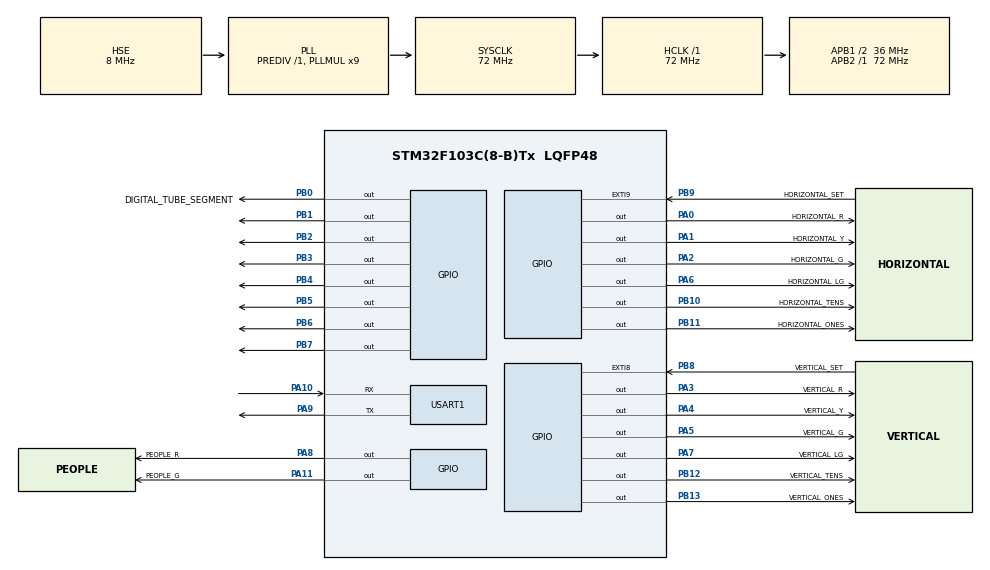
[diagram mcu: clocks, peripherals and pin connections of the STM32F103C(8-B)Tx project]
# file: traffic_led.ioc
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Dma.Request0=USART1_RX
Dma.USART1_RX.0.Direction=DMA_PERIPH_TO_MEMORY
Dma.USART1_RX.0.Instance=DMA1_Channel5
Dma.USART1_RX.0.MemDataAlignment=DMA_MDATAALIGN_BYTE
Dma.USART1_RX.0.MemInc=DMA_MINC_ENABLE
Dma.USART1_RX.0.Mode=DMA_NORMAL
Dma.USART1_RX.0.PeriphDataAlignment=DMA_PDATAALIGN_BYTE
Dma.USART1_RX.0.PeriphInc=DMA_PINC_DISABLE
Dma.USART1_RX.0.Priority=DMA_PRIORITY_LOW
Mcu.Family=STM32F1
Mcu.Name=STM32F103C(8-B)Tx
Mcu.Package=LQFP48
NVIC.DMA1_Channel5_IRQn=true\:0\:0\:false\:false\:true\:false\:true\:true
NVIC.EXTI9_5_IRQn=true\:0\:0\:false\:false\:true\:true\:true\:true
NVIC.PriorityGroup=NVIC_PRIORITYGROUP_4
NVIC.TIM2_IRQn=true\:0\:0\:false\:false\:true\:true\:true\:true
NVIC.TIM3_IRQn=true\:0\:0\:false\:false\:true\:true\:true\:true
NVIC.USART1_IRQn=true\:0\:0\:false\:false\:true\:true\:true\:true
PA0-WKUP.GPIO_Label=HORIZONTAL_R
PA0-WKUP.Signal=GPIO_Output
PA1.GPIO_Label=HORIZONTAL_Y
PA1.Signal=GPIO_Output
PA10.Mode=Asynchronous
PA10.Signal=USART1_RX
PA11.GPIO_Label=PEOPLE_G
PA11.Signal=GPIO_Output
PA13.Mode=Serial_Wire
PA13.Signal=SYS_JTMS-SWDIO
PA14.Mode=Serial_Wire
PA14.Signal=SYS_JTCK-SWCLK
PA2.GPIO_Label=HORIZONTAL_G
PA2.Signal=GPIO_Output
PA3.GPIO_Label=VERTICAL_R
PA3.Signal=GPIO_Output
PA4.GPIO_Label=VERTICAL_Y
PA4.Signal=GPIO_Output
PA5.GPIO_Label=VERTICAL_G
PA5.Signal=GPIO_Output
PA6.GPIO_Label=HORIZONTAL_LG
PA6.Signal=GPIO_Output
PA7.GPIO_Label=VERTICAL_LG
PA7.Signal=GPIO_Output
PA8.GPIO_Label=PEOPLE_R
PA8.Signal=GPIO_Output
PA9.Mode=Asynchronous
PA9.Signal=USART1_TX
PB0.GPIO_Label=DIGITAL_TUBE_SEGMENT
PB0.Signal=GPIO_Output
PB1.Signal=GPIO_Output
PB10.GPIO_Label=HORIZONTAL_TENS
PB10.Signal=GPIO_Output
PB11.GPIO_Label=HORIZONTAL_ONES
PB11.Signal=GPIO_Output
PB12.GPIO_Label=VERTICAL_TENS
PB12.Signal=GPIO_Output
PB13.GPIO_Label=VERTICAL_ONES
PB13.Signal=GPIO_Output
PB2.Signal=GPIO_Output
PB3.Signal=GPIO_Output
PB4.Signal=GPIO_Output
PB5.Signal=GPIO_Output
PB6.Signal=GPIO_Output
PB7.Signal=GPIO_Output
PB8.GPIO_Label=VERTICAL_SET
PB8.GPIO_ModeDefaultEXTI=GPIO_MODE_IT_FALLING
PB8.GPIO_PuPd=GPIO_PULLUP
PB8.Signal=GPXTI8
PB9.GPIO_Label=HORIZONTAL_SET
PB9.GPIO_ModeDefaultEXTI=GPIO_MODE_IT_FALLING
PB9.GPIO_PuPd=GPIO_PULLUP
PB9.Signal=GPXTI9
PC14-OSC32_IN.Mode=LSE-External-Oscillator
PC14-OSC32_IN.Signal=RCC_OSC32_IN
PC15-OSC32_OUT.Mode=LSE-External-Oscillator
PC15-OSC32_OUT.Signal=RCC_OSC32_OUT
PD0-OSC_IN.Mode=HSE-External-Oscillator
PD0-OSC_IN.Signal=RCC_OSC_IN
PD1-OSC_OUT.Mode=HSE-External-Oscillator
PD1-OSC_OUT.Signal=RCC_OSC_OUT
ProjectManager.HeapSize=0x200
ProjectManager.StackSize=0x400
ProjectManager.TargetToolchain=MDK-ARM V5
RCC.AHBFreq_Value=72000000
RCC.APB1CLKDivider=RCC_HCLK_DIV2
RCC.APB1Freq_Value=36000000
RCC.APB1TimFreq_Value=72000000
RCC.APB2Freq_Value=72000000
RCC.APB2TimFreq_Value=72000000
RCC.HCLKFreq_Value=72000000
RCC.PLLMUL=RCC_PLL_MUL9
RCC.PLLSourceVirtual=RCC_PLLSOURCE_HSE
RCC.SYSCLKFreq_VALUE=72000000
RCC.SYSCLKSource=RCC_SYSCLKSOURCE_PLLCLK
RCC.USBFreq_Value=72000000
TIM2.AutoReloadPreload=TIM_AUTORELOAD_PRELOAD_ENABLE
TIM2.Period=9999
TIM2.Prescaler=7199
TIM3.AutoReloadPreload=TIM_AUTORELOAD_PRELOAD_ENABLE
TIM3.Period=99
TIM3.Prescaler=7199
USART1.VirtualMode=VM_ASYNC
VP_TIM2_VS_ClockSourceINT.Mode=Internal
VP_TIM3_VS_ClockSourceINT.Mode=Internal
board=custom

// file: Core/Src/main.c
/* USER CODE BEGIN Header */
/**
  ******************************************************************************
  * @file           : main.c
  * @brief          : Main program body
  ******************************************************************************
  * @attention
  *
  * Copyright (c) 2024 STMicroelectronics.
  * All rights reserved.
  *
  * This software is licensed under terms that can be found in the LICENSE file
  * in the root directory of this software component.
  * If no LICENSE file comes with this software, it is provided AS-IS.
  *
  ******************************************************************************
  */
/* USER CODE END Header */
#include "main.h"
#include "dma.h"
#include "tim.h"
#include "usart.h"
#include "gpio.h"

/* USER CODE BEGIN Includes */
#include "bsp_ano_dt.h"
/* USER CODE END Includes */

/* USER CODE BEGIN PV */
// 交通灯所有状态时间
uint8_t vertical_green_time = 15, vertical_yellow_time = 3,
	horizontal_green_time = 15, horizontal_yellow_time = 3,
	vertical_turn_left_green_time = 15, vertical_turn_left_yellow_time = 3,
	horizontal_turn_left_green_time = 15, horizontal_turn_left_yellow_time = 3,
	people_time = 15;
// 数码管显示标志和显示数字
uint8_t vertical_display_num,horizontal_display_num,vertical_display_flag,horizontal_display_flag;
// 共阳极数码管字模
uint8_t num_table[11]={0xc0,0xf9,0xa4,0xb0,0x99,0x92,0x82,0xf8,0x80,0x90,0xff};

extern uint8_t update_1000ms;
extern uint8_t update_10ms;

extern uint8_t vertical_time_sub;
extern uint8_t horizontal_time_sub;
/* USER CODE END PV */

void SystemClock_Config(void);

/* USER CODE BEGIN 0 */

void update_time(void)
{
	if(vertical_time_sub)
	{
		vertical_green_time -= vertical_time_sub;
		horizontal_green_time += vertical_time_sub;
		vertical_time_sub = 0;
	}
}
void update_led(void)
{
	static uint8_t led_state = 0;// 0是横向红灯（竖向绿灯）、1是横向红灯（竖向黄灯）、
	                             // 2是竖向红灯（横向绿灯）、3是竖向红灯（横向黄灯）、
	                             // 4是横向红灯（竖向左转绿灯）、5是横向红灯（竖向黄灯）、
	                             // 6是竖向红灯（横向左转绿灯）、7是竖向红灯（横向黄灯）、
	                             // 8是人行道绿灯

	static uint8_t count;
	update_time();
	led_state %= 9;
	switch(led_state)
	{
		case 0:
		{
			HAL_GPIO_WritePin(HORIZONTAL_R_GPIO_Port, HORIZONTAL_R_Pin, GPIO_PIN_RESET);
			HAL_GPIO_WritePin(VERTICAL_R_GPIO_Port, VERTICAL_R_Pin, GPIO_PIN_SET);
			HAL_GPIO_WritePin(PEOPLE_G_GPIO_Port, PEOPLE_G_Pin, GPIO_PIN_SET);
			HAL_GPIO_WritePin(PEOPLE_R_GPIO_Port, PEOPLE_R_Pin, GPIO_PIN_RESET);
			HAL_GPIO_WritePin(VERTICAL_G_GPIO_Port, VERTICAL_G_Pin, GPIO_PIN_RESET);
			count++;

			horizontal_display_flag = 1;
			if(vertical_green_time + vertical_yellow_time >= count)
				horizontal_display_num = vertical_green_time + vertical_yellow_time - count;
			if(count >= vertical_green_time)
			{
				led_state += 1;
				count = 0;
			}
		}
		break;
		case 1:
		{
			HAL_GPIO_TogglePin(VERTICAL_Y_GPIO_Port, VERTICAL_Y_Pin);
			HAL_GPIO_WritePin(VERTICAL_G_GPIO_Port, VERTICAL_G_Pin, GPIO_PIN_SET);
			count++;

			if(vertical_yellow_time >= count)
				horizontal_display_num = vertical_yellow_time - count;
			if(count >= vertical_yellow_time)
			{
				led_state += 1;
				count = 0;
				horizontal_display_flag = 0;
			}
		}
		break;
		case 2:
		{
			HAL_GPIO_WritePin(HORIZONTAL_R_GPIO_Port, HORIZONTAL_R_Pin, GPIO_PIN_SET);
			HAL_GPIO_WritePin(VERTICAL_Y_GPIO_Port, VERTICAL_Y_Pin, GPIO_PIN_SET);
			HAL_GPIO_WritePin(HORIZONTAL_G_GPIO_Port, HORIZONTAL_G_Pin, GPIO_PIN_RESET);
			HAL_GPIO_WritePin(VERTICAL_R_GPIO_Port, VERTICAL_R_Pin, GPIO_PIN_RESET);
			count++;

			vertical_display_flag = 1;
			if(horizontal_green_time + horizontal_yellow_time >= count)
				vertical_display_num = horizontal_green_time + horizontal_yellow_time - count;
			if(count >= horizontal_green_time)
			{
				led_state += 1;
				count = 0;
			}
		}
		break;
		case 3:
		{
			HAL_GPIO_TogglePin(HORIZONTAL_Y_GPIO_Port, HORIZONTAL_Y_Pin);
			HAL_GPIO_WritePin(HORIZONTAL_G_GPIO_Port, HORIZONTAL_G_Pin, GPIO_PIN_SET);
			count++;

			vertical_display_flag = 1;
			if(horizontal_yellow_time >= count)
				vertical_display_num = horizontal_yellow_time - count;
			if(count >= horizontal_yellow_time)
			{
				led_state += 1;
				count = 0;
				vertical_display_flag = 0;
			}
		}
		break;
		case 4:
		{
			HAL_GPIO_WritePin(HORIZONTAL_Y_GPIO_Port, HORIZONTAL_Y_Pin, GPIO_PIN_SET);
			HAL_GPIO_WritePin(VERTICAL_R_GPIO_Port, VERTICAL_R_Pin, GPIO_PIN_SET);
			HAL_GPIO_WritePin(VERTICAL_LG_GPIO_Port, VERTICAL_LG_Pin, GPIO_PIN_RESET);
			HAL_GPIO_WritePin(HORIZONTAL_R_GPIO_Port, HORIZONTAL_R_Pin, GPIO_PIN_RESET);
			count++;

			horizontal_display_flag = 1;
			if(vertical_turn_left_green_time + vertical_turn_left_yellow_time >= count)
				horizontal_display_num = vertical_turn_left_green_time + vertical_turn_left_yellow_time - count;
			if(count >= vertical_turn_left_green_time)
			{
				led_state += 1;
				count = 0;
			}
		}
		break;
		case 5:
		{
			HAL_GPIO_TogglePin(VERTICAL_Y_GPIO_Port, VERTICAL_Y_Pin);
			HAL_GPIO_WritePin(VERTICAL_LG_GPIO_Port, VERTICAL_LG_Pin, GPIO_PIN_SET);
			count++;

			if(vertical_turn_left_yellow_time >= count)
				horizontal_display_num = vertical_turn_left_yellow_time - count;
			if(count >= vertical_turn_left_yellow_time)
			{
				led_state += 1;
				count = 0;
				horizontal_display_flag = 0;
			}
		}
		break;
		case 6:
		{
			HAL_GPIO_WritePin(VERTICAL_Y_GPIO_Port, VERTICAL_Y_Pin, GPIO_PIN_SET);
			HAL_GPIO_WritePin(HORIZONTAL_R_GPIO_Port, HORIZONTAL_R_Pin, GPIO_PIN_SET);
			HAL_GPIO_WritePin(HORIZONTAL_LG_GPIO_Port, HORIZONTAL_LG_Pin, GPIO_PIN_RESET);
			HAL_GPIO_WritePin(VERTICAL_R_GPIO_Port, VERTICAL_R_Pin, GPIO_PIN_RESET);
			count++;

			vertical_display_flag = 1;
			if(horizontal_turn_left_green_time + horizontal_turn_left_yellow_time >= count)
				vertical_display_num = horizontal_turn_left_green_time + horizontal_turn_left_yellow_time - count;
			if(count >= horizontal_turn_left_green_time)
			{
				led_state += 1;
				count = 0;
			}
		}
		break;
		case 7:
		{
			HAL_GPIO_TogglePin(HORIZONTAL_Y_GPIO_Port, HORIZONTAL_Y_Pin);
			HAL_GPIO_WritePin(HORIZONTAL_LG_GPIO_Port, HORIZONTAL_LG_Pin, GPIO_PIN_SET);
			count++;

			if(horizontal_turn_left_yellow_time >= count)
				vertical_display_num = horizontal_turn_left_yellow_time - count;
			if(count >= horizontal_turn_left_yellow_time)
			{
				led_state += 1;
				count = 0;
				vertical_display_flag = 0;
			}
		}
		break;
		case 8:
		{
			HAL_GPIO_WritePin(HORIZONTAL_Y_GPIO_Port, HORIZONTAL_Y_Pin, GPIO_PIN_SET);
			HAL_GPIO_WritePin(HORIZONTAL_R_GPIO_Port, HORIZONTAL_R_Pin, GPIO_PIN_RESET);
			HAL_GPIO_WritePin(PEOPLE_R_GPIO_Port, PEOPLE_R_Pin, GPIO_PIN_SET);
			HAL_GPIO_WritePin(PEOPLE_G_GPIO_Port, PEOPLE_G_Pin, GPIO_PIN_RESET);
			count++;

			vertical_display_flag = 1;
			horizontal_display_flag = 1;
			if(people_time >= count)
				vertical_display_num = people_time - count;
			horizontal_display_num = vertical_display_num;
			if(count >= people_time)
			{
				led_state += 1;
				count = 0;
				vertical_display_flag = 0;
				horizontal_display_flag = 0;
			}
		}
		break;
		default: break;
	}
}
void update_digital_tube(void)
{
	// 数码管显示
	uint8_t ones,tens;
	if(horizontal_display_flag == 1)
	{
		ones = horizontal_display_num % 10;
		tens = horizontal_display_num / 10;
		if(HAL_GPIO_ReadPin(HORIZONTAL_ONES_GPIO_Port, HORIZONTAL_ONES_Pin))
		{
			// 消影
			for(uint8_t i = 0;i < 8;i++)
			{
				HAL_GPIO_WritePin(DIGITAL_TUBE_SEGMENT_GPIO_Port, DIGITAL_TUBE_SEGMENT_Pin << i, GPIO_PIN_SET);
			}
			// 位选
			HAL_GPIO_WritePin(HORIZONTAL_ONES_GPIO_Port, HORIZONTAL_ONES_Pin, GPIO_PIN_RESET);
			HAL_GPIO_WritePin(HORIZONTAL_TENS_GPIO_Port, HORIZONTAL_TENS_Pin, GPIO_PIN_SET);
			// 段选
			for(uint8_t i = 0;i < 8;i++)
			{
				if((GPIO_PIN_0 << i) & num_table[tens])
				{
					HAL_GPIO_WritePin(DIGITAL_TUBE_SEGMENT_GPIO_Port, DIGITAL_TUBE_SEGMENT_Pin << i, GPIO_PIN_SET);
				}
				else
					HAL_GPIO_WritePin(DIGITAL_TUBE_SEGMENT_GPIO_Port, DIGITAL_TUBE_SEGMENT_Pin << i, GPIO_PIN_RESET);
			}
		}
		else
		{
			for(uint8_t i = 0;i < 8;i++)
			{
				HAL_GPIO_WritePin(DIGITAL_TUBE_SEGMENT_GPIO_Port, DIGITAL_TUBE_SEGMENT_Pin << i, GPIO_PIN_SET);
			}
			HAL_GPIO_WritePin(HORIZONTAL_TENS_GPIO_Port, HORIZONTAL_TENS_Pin, GPIO_PIN_RESET);
			HAL_GPIO_WritePin(HORIZONTAL_ONES_GPIO_Port, HORIZONTAL_ONES_Pin, GPIO_PIN_SET);
			for(uint8_t i = 0;i < 8;i++)
			{
				if((GPIO_PIN_0 << i) & num_table[ones])
				{
					HAL_GPIO_WritePin(DIGITAL_TUBE_SEGMENT_GPIO_Port, DIGITAL_TUBE_SEGMENT_Pin << i, GPIO_PIN_SET);
				}
				else
					HAL_GPIO_WritePin(DIGITAL_TUBE_SEGMENT_GPIO_Port, DIGITAL_TUBE_SEGMENT_Pin << i, GPIO_PIN_RESET);
			}
		}
	}
	else // 灭灯
	{
		HAL_GPIO_WritePin(HORIZONTAL_ONES_GPIO_Port, HORIZONTAL_ONES_Pin, GPIO_PIN_RESET);
		HAL_GPIO_WritePin(HORIZONTAL_TENS_GPIO_Port, HORIZONTAL_TENS_Pin, GPIO_PIN_RESET);
	}
	// 竖直方向数码管
	if(vertical_display_flag == 1)
	{
		ones = vertical_display_num % 10;
		tens = vertical_display_num / 10;
		if(HAL_GPIO_ReadPin(VERTICAL_ONES_GPIO_Port, VERTICAL_ONES_Pin))
		{
			// 消影
			for(uint8_t i = 0;i < 8;i++)
			{
				HAL_GPIO_WritePin(DIGITAL_TUBE_SEGMENT_GPIO_Port, DIGITAL_TUBE_SEGMENT_Pin << i, GPIO_PIN_SET);
			}
			// 位选
			HAL_GPIO_WritePin(VERTICAL_ONES_GPIO_Port, VERTICAL_ONES_Pin, GPIO_PIN_RESET);
			HAL_GPIO_WritePin(VERTICAL_TENS_GPIO_Port, VERTICAL_TENS_Pin, GPIO_PIN_SET);
			// 段选
			for(uint8_t i = 0;i < 8;i++)
			{
				if((GPIO_PIN_0 << i) & num_table[tens])
				{
					HAL_GPIO_WritePin(DIGITAL_TUBE_SEGMENT_GPIO_Port, DIGITAL_TUBE_SEGMENT_Pin << i, GPIO_PIN_SET);
				}
				else
					HAL_GPIO_WritePin(DIGITAL_TUBE_SEGMENT_GPIO_Port, DIGITAL_TUBE_SEGMENT_Pin << i, GPIO_PIN_RESET);
			}
		}
		else
		{
			for(uint8_t i = 0;i < 8;i++)
			{
				HAL_GPIO_WritePin(DIGITAL_TUBE_SEGMENT_GPIO_Port, DIGITAL_TUBE_SEGMENT_Pin << i, GPIO_PIN_SET);
			}
			HAL_GPIO_WritePin(VERTICAL_TENS_GPIO_Port, VERTICAL_TENS_Pin, GPIO_PIN_RESET);
			HAL_GPIO_WritePin(VERTICAL_ONES_GPIO_Port, VERTICAL_ONES_Pin, GPIO_PIN_SET);
			for(uint8_t i = 0;i < 8;i++)
			{
				if((GPIO_PIN_0 << i) & num_table[ones])
				{
					HAL_GPIO_WritePin(DIGITAL_TUBE_SEGMENT_GPIO_Port, DIGITAL_TUBE_SEGMENT_Pin << i, GPIO_PIN_SET);
				}
				else
					HAL_GPIO_WritePin(DIGITAL_TUBE_SEGMENT_GPIO_Port, DIGITAL_TUBE_SEGMENT_Pin << i, GPIO_PIN_RESET);
			}
		}
	}
	else // 灭灯
	{
		HAL_GPIO_WritePin(VERTICAL_ONES_GPIO_Port, VERTICAL_ONES_Pin, GPIO_PIN_RESET);
		HAL_GPIO_WritePin(VERTICAL_TENS_GPIO_Port, VERTICAL_TENS_Pin, GPIO_PIN_RESET);
	}
}

void HAL_UARTEx_RxEventCallback(UART_HandleTypeDef *huart, uint16_t Size)
{
	if(huart == &huart1)
	{
		ano_dt_rx_data_handle(Size);
	}
}
/* USER CODE END 0 */

int main(void)
{

  /* MCU Configuration--------------------------------------------------------*/

  /* Reset of all peripherals, Initializes the Flash interface and the Systick. */
  HAL_Init();

  /* Configure the system clock */
  SystemClock_Config();

  /* Initialize all configured peripherals */
  MX_GPIO_Init();
  MX_DMA_Init();
  MX_TIM2_Init();
  MX_TIM3_Init();
  MX_USART1_UART_Init();
  /* USER CODE BEGIN 2 */
	HAL_TIM_Base_Start_IT(&htim2);
	HAL_TIM_Base_Start_IT(&htim3);
	for(uint8_t i = 0;i < 8;i++)
	{
		HAL_GPIO_WritePin(HORIZONTAL_R_GPIO_Port, HORIZONTAL_R_Pin << i, GPIO_PIN_SET);
	}
	for(uint8_t i = 0;i < 8;i++)
	{
		HAL_GPIO_WritePin(DIGITAL_TUBE_SEGMENT_GPIO_Port, DIGITAL_TUBE_SEGMENT_Pin << i, GPIO_PIN_SET);
	}
	for(uint8_t i = 0;i < 4;i++)
	{
		HAL_GPIO_WritePin(HORIZONTAL_ONES_GPIO_Port, HORIZONTAL_ONES_Pin << i, GPIO_PIN_SET);
	}
  /* USER CODE END 2 */

  /* Infinite loop */
  /* USER CODE BEGIN WHILE */
  while (1)
  {
		if(update_1000ms)
		{
			update_led();
			update_1000ms = 0;
		}
		if(update_10ms)
		{
			update_digital_tube();
			update_10ms = 0;
		}
    /* USER CODE END WHILE */

  }
}

void SystemClock_Config(void)
{
  RCC_OscInitTypeDef RCC_OscInitStruct = {0};
  RCC_ClkInitTypeDef RCC_ClkInitStruct = {0};

  /** Initializes the RCC Oscillators according to the specified parameters
  * in the RCC_OscInitTypeDef structure.
  */
  RCC_OscInitStruct.OscillatorType = RCC_OSCILLATORTYPE_HSE;
  RCC_OscInitStruct.HSEState = RCC_HSE_ON;
  RCC_OscInitStruct.HSEPredivValue = RCC_HSE_PREDIV_DIV1;
  RCC_OscInitStruct.HSIState = RCC_HSI_ON;
  RCC_OscInitStruct.PLL.PLLState = RCC_PLL_ON;
  RCC_OscInitStruct.PLL.PLLSource = RCC_PLLSOURCE_HSE;
  RCC_OscInitStruct.PLL.PLLMUL = RCC_PLL_MUL9;
  if (HAL_RCC_OscConfig(&RCC_OscInitStruct) != HAL_OK)
  {
    Error_Handler();
  }

  /** Initializes the CPU, AHB and APB buses clocks
  */
  RCC_ClkInitStruct.ClockType = RCC_CLOCKTYPE_HCLK|RCC_CLOCKTYPE_SYSCLK
                              |RCC_CLOCKTYPE_PCLK1|RCC_CLOCKTYPE_PCLK2;
  RCC_ClkInitStruct.SYSCLKSource = RCC_SYSCLKSOURCE_PLLCLK;
  RCC_ClkInitStruct.AHBCLKDivider = RCC_SYSCLK_DIV1;
  RCC_ClkInitStruct.APB1CLKDivider = RCC_HCLK_DIV2;
  RCC_ClkInitStruct.APB2CLKDivider = RCC_HCLK_DIV1;

  if (HAL_RCC_ClockConfig(&RCC_ClkInitStruct, FLASH_LATENCY_2) != HAL_OK)
  {
    Error_Handler();
  }
}

void Error_Handler(void)
{
  __disable_irq();
  while (1)
  {
  }
}
